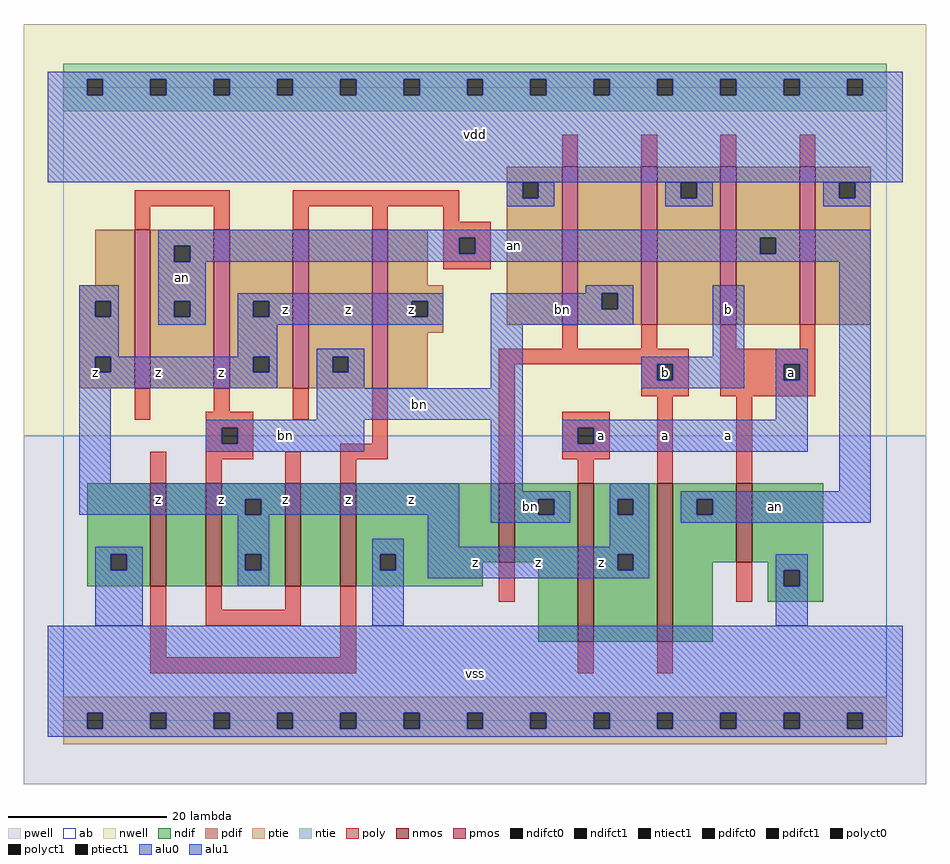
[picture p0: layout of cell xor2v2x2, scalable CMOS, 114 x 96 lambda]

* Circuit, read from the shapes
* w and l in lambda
.subckt xor2v2x2 a an b bn vdd vss z
M1 n1 an vss vss nfet w=13 l=2
M2 z bn n1 vss nfet w=13 l=2
M3 n2 bn z vss nfet w=13 l=2
M4 vss an n2 vss nfet w=13 l=2
M5 bn b vss vss nfet w=10 l=2
M6 z a bn vss nfet w=20 l=2
M7 an b z vss nfet w=20 l=2
M8 vss a an vss nfet w=10 l=2
M9 an bn z vdd pfet w=20 l=2 m=2
M10 bn an z vdd pfet w=20 l=2 m=2
M11 bn b vdd vdd pfet w=20 l=2 m=2
M12 an a vdd vdd pfet w=20 l=2 m=2
.ends

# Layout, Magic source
magic
tech scmos
<< ab >>
rect 0 0 104 80
<< nwell >>
rect -5 36 109 88
<< pwell >>
rect -5 -8 109 36
<< poly >>
rect 63 70 65 74
rect 73 70 75 74
rect 83 70 85 74
rect 93 70 95 74
rect 9 65 21 67
rect 9 62 11 65
rect 19 62 21 65
rect 29 65 50 67
rect 29 62 31 65
rect 39 62 41 65
rect 48 63 50 65
rect 48 61 54 63
rect 48 59 50 61
rect 52 59 54 61
rect 48 57 54 59
rect 63 47 65 50
rect 73 47 75 50
rect 83 47 85 50
rect 93 47 95 50
rect 55 45 79 47
rect 9 38 11 42
rect 19 39 21 42
rect 18 37 24 39
rect 29 38 31 42
rect 18 35 20 37
rect 22 35 24 37
rect 39 35 41 42
rect 11 30 13 34
rect 18 33 24 35
rect 18 30 20 33
rect 28 30 30 34
rect 35 33 41 35
rect 35 30 37 33
rect 55 30 57 45
rect 73 43 75 45
rect 77 43 79 45
rect 73 41 79 43
rect 83 45 95 47
rect 83 43 91 45
rect 93 43 95 45
rect 83 41 95 43
rect 63 37 69 39
rect 63 35 65 37
rect 67 35 69 37
rect 63 33 69 35
rect 65 30 67 33
rect 75 30 77 41
rect 85 30 87 41
rect 11 8 13 17
rect 18 14 20 17
rect 28 14 30 17
rect 18 12 30 14
rect 35 8 37 17
rect 55 15 57 20
rect 85 15 87 20
rect 11 6 37 8
rect 65 6 67 10
rect 75 6 77 10
<< ndif >>
rect 3 21 11 30
rect 3 19 6 21
rect 8 19 11 21
rect 3 17 11 19
rect 13 17 18 30
rect 20 28 28 30
rect 20 26 23 28
rect 25 26 28 28
rect 20 21 28 26
rect 20 19 23 21
rect 25 19 28 21
rect 20 17 28 19
rect 30 17 35 30
rect 37 21 55 30
rect 37 19 40 21
rect 42 20 55 21
rect 57 28 65 30
rect 57 26 60 28
rect 62 26 65 28
rect 57 20 65 26
rect 42 19 53 20
rect 37 17 53 19
rect 60 10 65 20
rect 67 28 75 30
rect 67 26 70 28
rect 72 26 75 28
rect 67 21 75 26
rect 67 19 70 21
rect 72 19 75 21
rect 67 10 75 19
rect 77 28 85 30
rect 77 26 80 28
rect 82 26 85 28
rect 77 20 85 26
rect 87 20 96 30
rect 77 10 82 20
rect 89 19 96 20
rect 89 17 91 19
rect 93 17 96 19
rect 89 15 96 17
<< pdif >>
rect 56 68 63 70
rect 56 66 58 68
rect 60 66 63 68
rect 4 55 9 62
rect 2 53 9 55
rect 2 51 4 53
rect 6 51 9 53
rect 2 46 9 51
rect 2 44 4 46
rect 6 44 9 46
rect 2 42 9 44
rect 11 60 19 62
rect 11 58 14 60
rect 16 58 19 60
rect 11 53 19 58
rect 11 51 14 53
rect 16 51 19 53
rect 11 42 19 51
rect 21 53 29 62
rect 21 51 24 53
rect 26 51 29 53
rect 21 46 29 51
rect 21 44 24 46
rect 26 44 29 46
rect 21 42 29 44
rect 31 46 39 62
rect 31 44 34 46
rect 36 44 39 46
rect 31 42 39 44
rect 41 55 46 62
rect 41 53 48 55
rect 41 51 44 53
rect 46 51 48 53
rect 41 49 48 51
rect 56 50 63 66
rect 65 54 73 70
rect 65 52 68 54
rect 70 52 73 54
rect 65 50 73 52
rect 75 68 83 70
rect 75 66 78 68
rect 80 66 83 68
rect 75 50 83 66
rect 85 61 93 70
rect 85 59 88 61
rect 90 59 93 61
rect 85 50 93 59
rect 95 68 102 70
rect 95 66 98 68
rect 100 66 102 68
rect 95 50 102 66
rect 41 42 46 49
<< alu1 >>
rect -2 81 106 82
rect -2 79 3 81
rect 5 79 11 81
rect 13 79 19 81
rect 21 79 27 81
rect 29 79 35 81
rect 37 79 43 81
rect 45 79 51 81
rect 53 79 59 81
rect 61 79 67 81
rect 69 79 75 81
rect 77 79 83 81
rect 85 79 91 81
rect 93 79 99 81
rect 101 79 106 81
rect -2 68 106 79
rect 2 53 7 55
rect 2 51 4 53
rect 6 51 7 53
rect 2 46 7 51
rect 22 53 48 54
rect 22 51 24 53
rect 26 51 44 53
rect 46 51 48 53
rect 22 50 48 51
rect 22 46 27 50
rect 2 44 4 46
rect 6 44 24 46
rect 26 44 27 46
rect 2 42 27 44
rect 82 46 86 55
rect 73 45 86 46
rect 73 43 75 45
rect 77 43 86 45
rect 73 42 86 43
rect 90 45 94 47
rect 90 43 91 45
rect 93 43 94 45
rect 2 30 6 42
rect 90 38 94 43
rect 2 28 50 30
rect 2 26 23 28
rect 25 26 50 28
rect 22 21 26 26
rect 22 19 23 21
rect 25 19 26 21
rect 22 17 26 19
rect 46 22 50 26
rect 63 37 94 38
rect 63 35 65 37
rect 67 35 94 37
rect 63 34 94 35
rect 69 28 74 30
rect 69 26 70 28
rect 72 26 74 28
rect 69 22 74 26
rect 46 21 74 22
rect 46 19 70 21
rect 72 19 74 21
rect 46 18 74 19
rect -2 1 106 12
rect -2 -1 3 1
rect 5 -1 11 1
rect 13 -1 19 1
rect 21 -1 27 1
rect 29 -1 35 1
rect 37 -1 43 1
rect 45 -1 51 1
rect 53 -1 59 1
rect 61 -1 67 1
rect 69 -1 75 1
rect 77 -1 83 1
rect 85 -1 91 1
rect 93 -1 99 1
rect 101 -1 106 1
rect -2 -2 106 -1
<< ptie >>
rect 0 1 104 3
rect 0 -1 3 1
rect 5 -1 11 1
rect 13 -1 19 1
rect 21 -1 27 1
rect 29 -1 35 1
rect 37 -1 43 1
rect 45 -1 51 1
rect 53 -1 59 1
rect 61 -1 67 1
rect 69 -1 75 1
rect 77 -1 83 1
rect 85 -1 91 1
rect 93 -1 99 1
rect 101 -1 104 1
rect 0 -3 104 -1
<< ntie >>
rect 0 81 104 83
rect 0 79 3 81
rect 5 79 11 81
rect 13 79 19 81
rect 21 79 27 81
rect 29 79 35 81
rect 37 79 43 81
rect 45 79 51 81
rect 53 79 59 81
rect 61 79 67 81
rect 69 79 75 81
rect 77 79 83 81
rect 85 79 91 81
rect 93 79 99 81
rect 101 79 104 81
rect 0 77 104 79
<< nmos >>
rect 11 17 13 30
rect 18 17 20 30
rect 28 17 30 30
rect 35 17 37 30
rect 55 20 57 30
rect 65 10 67 30
rect 75 10 77 30
rect 85 20 87 30
<< pmos >>
rect 9 42 11 62
rect 19 42 21 62
rect 29 42 31 62
rect 39 42 41 62
rect 63 50 65 70
rect 73 50 75 70
rect 83 50 85 70
rect 93 50 95 70
<< polyct0 >>
rect 50 59 52 61
rect 20 35 22 37
<< polyct1 >>
rect 75 43 77 45
rect 91 43 93 45
rect 65 35 67 37
<< ndifct0 >>
rect 6 19 8 21
rect 40 19 42 21
rect 60 26 62 28
rect 80 26 82 28
rect 91 17 93 19
<< ndifct1 >>
rect 23 26 25 28
rect 23 19 25 21
rect 70 26 72 28
rect 70 19 72 21
<< ntiect1 >>
rect 3 79 5 81
rect 11 79 13 81
rect 19 79 21 81
rect 27 79 29 81
rect 35 79 37 81
rect 43 79 45 81
rect 51 79 53 81
rect 59 79 61 81
rect 67 79 69 81
rect 75 79 77 81
rect 83 79 85 81
rect 91 79 93 81
rect 99 79 101 81
<< ptiect1 >>
rect 3 -1 5 1
rect 11 -1 13 1
rect 19 -1 21 1
rect 27 -1 29 1
rect 35 -1 37 1
rect 43 -1 45 1
rect 51 -1 53 1
rect 59 -1 61 1
rect 67 -1 69 1
rect 75 -1 77 1
rect 83 -1 85 1
rect 91 -1 93 1
rect 99 -1 101 1
<< pdifct0 >>
rect 58 66 60 68
rect 14 58 16 60
rect 14 51 16 53
rect 34 44 36 46
rect 68 52 70 54
rect 78 66 80 68
rect 88 59 90 61
rect 98 66 100 68
<< pdifct1 >>
rect 4 51 6 53
rect 4 44 6 46
rect 24 51 26 53
rect 24 44 26 46
rect 44 51 46 53
<< alu0 >>
rect 56 66 58 68
rect 60 66 62 68
rect 56 65 62 66
rect 76 66 78 68
rect 80 66 82 68
rect 76 65 82 66
rect 96 66 98 68
rect 100 66 102 68
rect 96 65 102 66
rect 12 61 102 62
rect 12 60 50 61
rect 12 58 14 60
rect 16 59 50 60
rect 52 59 88 61
rect 90 59 102 61
rect 16 58 102 59
rect 12 53 18 58
rect 66 54 72 55
rect 12 51 14 53
rect 16 51 18 53
rect 12 50 18 51
rect 54 52 68 54
rect 70 52 72 54
rect 54 50 72 52
rect 32 46 38 47
rect 32 44 34 46
rect 36 44 38 46
rect 32 42 38 44
rect 54 42 58 50
rect 32 38 58 42
rect 18 37 38 38
rect 18 35 20 37
rect 22 35 38 37
rect 18 34 38 35
rect 4 21 10 22
rect 4 19 6 21
rect 8 19 10 21
rect 4 12 10 19
rect 39 21 43 23
rect 39 19 40 21
rect 42 19 43 21
rect 39 12 43 19
rect 54 29 58 38
rect 54 28 64 29
rect 54 26 60 28
rect 62 26 64 28
rect 54 25 64 26
rect 98 29 102 58
rect 78 28 102 29
rect 78 26 80 28
rect 82 26 102 28
rect 78 25 102 26
rect 90 19 94 21
rect 90 17 91 19
rect 93 17 94 19
rect 90 12 94 17
<< labels >>
rlabel alu0 15 56 15 56 6 an
rlabel alu0 28 36 28 36 6 bn
rlabel alu0 59 27 59 27 6 bn
rlabel alu0 45 40 45 40 6 bn
rlabel alu0 63 52 63 52 6 bn
rlabel alu0 90 27 90 27 6 an
rlabel alu0 57 60 57 60 6 an
rlabel alu1 20 28 20 28 6 z
rlabel alu1 12 28 12 28 6 z
rlabel alu1 12 44 12 44 6 z
rlabel alu1 4 44 4 44 6 z
rlabel alu1 20 44 20 44 6 z
rlabel alu1 28 28 28 28 6 z
rlabel alu1 44 28 44 28 6 z
rlabel alu1 36 28 36 28 6 z
rlabel alu1 28 52 28 52 6 z
rlabel alu1 44 52 44 52 6 z
rlabel alu1 36 52 36 52 6 z
rlabel alu1 52 6 52 6 6 vss
rlabel alu1 60 20 60 20 6 z
rlabel alu1 68 20 68 20 6 z
rlabel alu1 52 20 52 20 6 z
rlabel alu1 76 36 76 36 6 a
rlabel alu1 68 36 68 36 6 a
rlabel polyct1 76 44 76 44 6 b
rlabel alu1 52 74 52 74 6 vdd
rlabel alu1 84 36 84 36 6 a
rlabel polyct1 92 44 92 44 6 a
rlabel alu1 84 52 84 52 6 b
<< end >>
